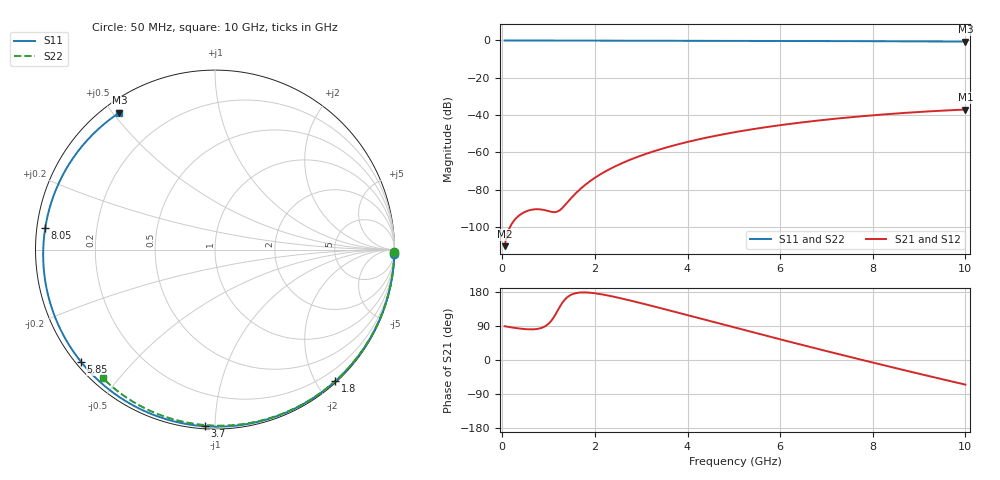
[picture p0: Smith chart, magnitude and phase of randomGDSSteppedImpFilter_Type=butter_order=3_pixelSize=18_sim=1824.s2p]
! freq	dB(S11)	phase(S11)	dB(S12)	phase(S12)
!  dB(S21)	phase(S21)	dB(S22)	phase(S22)
!S-par simulation data
#  GHz  S  DB  R 50
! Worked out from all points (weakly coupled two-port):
!   200 points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, 50 MHz to 10 GHz, reference 50 ohm
!   highest |S21| = -37.06 dB at 10 GHz (marker M1); lowest = -110.4 dB at 50 MHz (marker M2)
!   lowest |S11| = -0.6 dB at 10 GHz (marker M3), VSWR 27.78, Z = 2.29 + j26 ohm
!   |S11| at or under -10 dB: nowhere
!   |S22| runs from -0.4 to 0.0 dB; largest |S21 - S12| = 0
!   S11 on the Smith chart (normalised r, x): 50 MHz: 0, -84; 1.8 GHz: 0.02, -2.27; 3.7 GHz: 0.01, -0.94; 5.85 GHz: 0.01, -0.36; 8.05 GHz: 0.02, +0.06; 10 GHz: 0.05, +0.52
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0.05  -0.00 -1.4  -110.36 89.1  -110.36 89.1  -0.00 -0.8
0.4  -0.01 -10.8  -93.23 82.6  -93.23 82.6  -0.01 -6.1
0.8  -0.03 -21.4  -90.58 83.0  -90.58 83.0  -0.02 -12.1
1.2  -0.04 -32.0  -91.70 131.4  -91.70 131.4  -0.02 -18.1
1.65  -0.06 -43.7  -80.48 177.7  -80.48 177.7  -0.03 -24.7
1.75  -0.06 -46.2  -78.29 178.4  -78.29 178.4  -0.03 -26.2
1.8  -0.06 -47.5  -77.27 178.3  -77.27 178.3  -0.03 -26.9
2.1  -0.07 -55.1  -72.09 174.2  -72.09 174.2  -0.04 -31.3
2.45  -0.08 -63.7  -67.39 165.8  -67.39 165.8  -0.05 -36.4
2.9  -0.09 -74.6  -62.65 152.9  -62.65 152.9  -0.06 -42.8
3.4  -0.11 -86.4  -58.46 137.4  -58.46 137.4  -0.07 -49.9
3.7  -0.12 -93.3  -56.34 127.9  -56.34 127.9  -0.07 -54.0
4.35  -0.15 -107.8  -52.46 107.1  -52.46 107.1  -0.09 -62.9
5.05  -0.18 -123.0  -49.08 84.7  -49.08 84.7  -0.11 -72.2
5.85  -0.23 -139.9  -45.96 59.3  -45.96 59.3  -0.14 -82.4
6.7  -0.29 -157.9  -43.29 32.8  -43.29 32.8  -0.18 -93.0
7.4  -0.35 -172.8  -41.48 11.3  -41.48 11.3  -0.22 -101.4
8.05  -0.41 172.8  -40.05 -8.2  -40.05 -8.2  -0.26 -109.1
8.35  -0.44 166.0  -39.47 -17.2  -39.47 -17.2  -0.29 -112.5
9.15  -0.53 146.9  -38.14 -40.6  -38.14 -40.6  -0.36 -121.7
9.55  -0.57 136.8  -37.59 -52.2  -37.59 -52.2  -0.40 -126.2
10  -0.63 124.9  -37.06 -65.0  -37.06 -65.0  -0.44 -131.3
